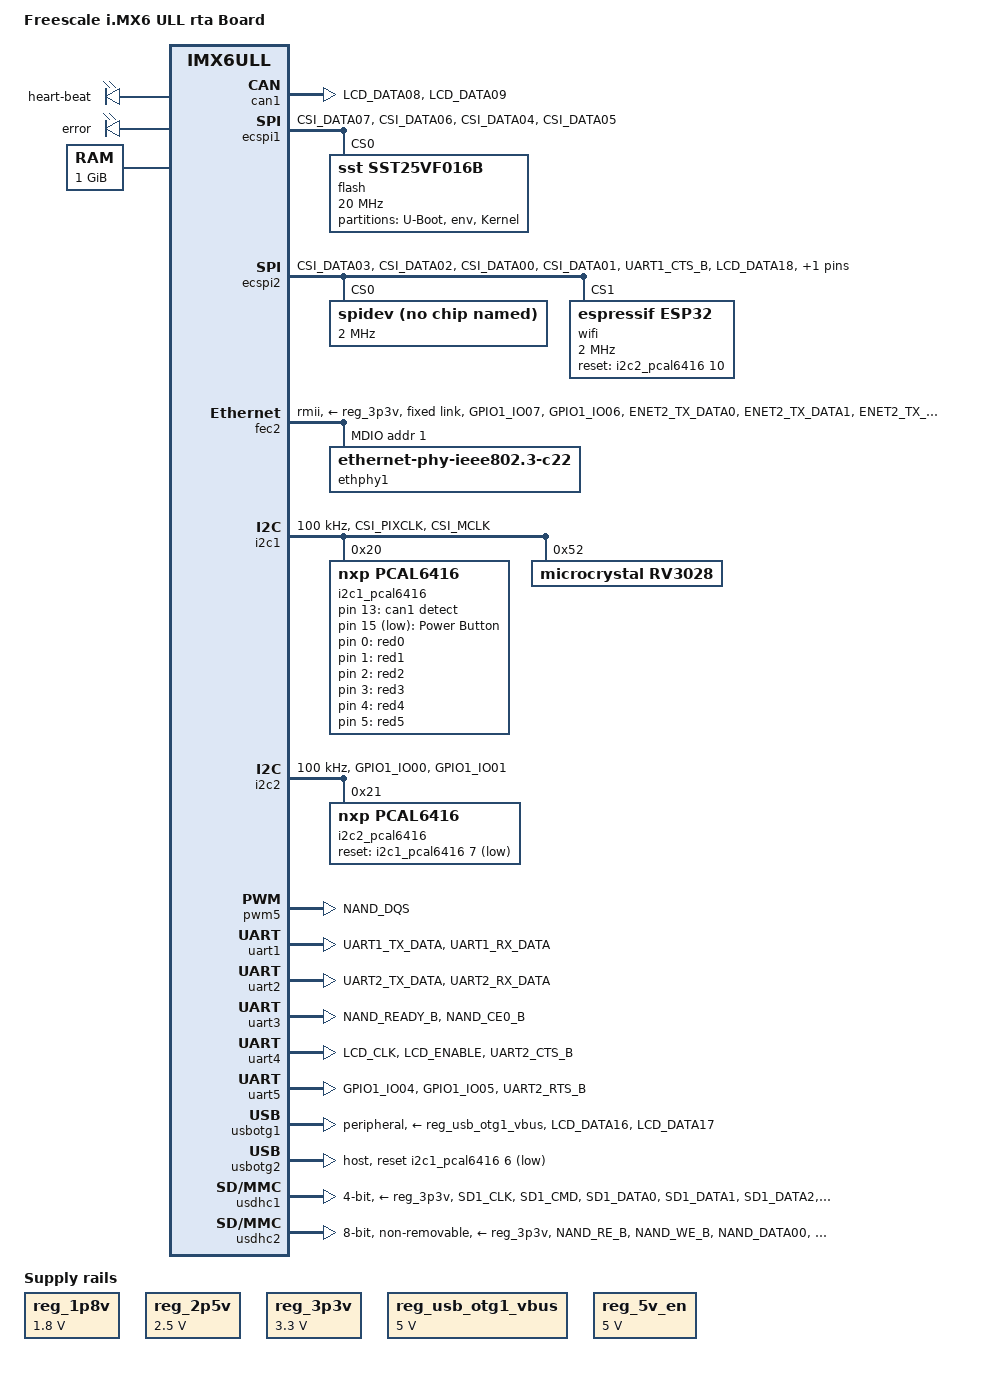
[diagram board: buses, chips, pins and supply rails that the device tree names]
/*
 * Copyright (C) 2019 Boundary Devices, Inc.
 *
 * This file is dual-licensed: you can use it either under the terms
 * of the GPL or the X11 license, at your option. Note that this dual
 * licensing only applies to this file, and not this project as a
 * whole.
 *
 *  a) This file is free software; you can redistribute it and/or
 *     modify it under the terms of the GNU General Public License
 *     version 2 as published by the Free Software Foundation.
 *
 *     This file is distributed in the hope that it will be useful
 *     but WITHOUT ANY WARRANTY; without even the implied warranty of
 *     MERCHANTABILITY or FITNESS FOR A PARTICULAR PURPOSE.  See the
 *     GNU General Public License for more details.
 *
 * Or, alternatively
 *
 *  b) Permission is hereby granted, free of charge, to any person
 *     obtaining a copy of this software and associated documentation
 *     files (the "Software"), to deal in the Software without
 *     restriction, including without limitation the rights to use
 *     copy, modify, merge, publish, distribute, sublicense, and/or
 *     sell copies of the Software, and to permit persons to whom the
 *     Software is furnished to do so, subject to the following
 *     conditions:
 *
 *     The above copyright notice and this permission notice shall be
 *     included in all copies or substantial portions of the Software.
 *
 *     THE SOFTWARE IS PROVIDED , WITHOUT WARRANTY OF ANY KIND
 *     EXPRESS OR IMPLIED, INCLUDING BUT NOT LIMITED TO THE WARRANTIES
 *     OF MERCHANTABILITY, FITNESS FOR A PARTICULAR PURPOSE AND
 *     NONINFRINGEMENT. IN NO EVENT SHALL THE AUTHORS OR COPYRIGHT
 *     HOLDERS BE LIABLE FOR ANY CLAIM, DAMAGES OR OTHER LIABILITY
 *     WHETHER IN AN ACTION OF CONTRACT, TORT OR OTHERWISE, ARISING
 *     FROM, OUT OF OR IN CONNECTION WITH THE SOFTWARE OR THE USE OR
 *     OTHER DEALINGS IN THE SOFTWARE.
 */

/dts-v1/;

#include <dt-bindings/input/input.h>
#include "imx6ull.dtsi"

&iomuxc {
	pinctrl-names = "default";
	pinctrl-0 = <&pinctrl_hog>;

	pinctrl_can1: can1grp {
		fsl,pins = <
			MX6UL_PAD_LCD_DATA08__FLEXCAN1_TX		0x1b0b0
			MX6UL_PAD_LCD_DATA09__FLEXCAN1_RX		0x1b0b0
		>;
	};

	pinctrl_ecspi1: ecspi1grp {
		fsl,pins = <
			MX6UL_PAD_CSI_DATA07__ECSPI1_MISO		0x100b1
			MX6UL_PAD_CSI_DATA06__ECSPI1_MOSI		0x100b1
			MX6UL_PAD_CSI_DATA04__ECSPI1_SCLK		0x100b1
#define GP_ECSPI1_NOR_CS		<&gpio4 26 GPIO_ACTIVE_LOW>
			MX6UL_PAD_CSI_DATA05__GPIO4_IO26		0x0b0b1
		>;
	};

	pinctrl_ecspi2: ecspi2grp {
		fsl,pins = <
			MX6UL_PAD_CSI_DATA03__ECSPI2_MISO		0x100b1
			MX6UL_PAD_CSI_DATA02__ECSPI2_MOSI		0x100b1
			MX6UL_PAD_CSI_DATA00__ECSPI2_SCLK		0x100b1
#define GP_ECSPI2_CS0			<&gpio4 22 GPIO_ACTIVE_LOW>
			MX6UL_PAD_CSI_DATA01__GPIO4_IO22		0x0b0b1
#define GP_ECSPI2_CS1			<&gpio1 18 GPIO_ACTIVE_LOW>
			MX6UL_PAD_UART1_CTS_B__GPIO1_IO18		0x0b0b1
#define GPIRQ0_ECSPI2			<&gpio3 23 IRQ_TYPE_LEVEL_LOW>
			MX6UL_PAD_LCD_DATA18__GPIO3_IO23		0x030b0
#define GPIRQ_ESP32			<&gpio3 26 IRQ_TYPE_EDGE_RISING>
			MX6UL_PAD_LCD_DATA21__GPIO3_IO26		0x0b0b0
		>;
	};

	pinctrl_enet2: enet2grp {
		fsl,pins = <
			MX6UL_PAD_GPIO1_IO07__ENET2_MDC			0x0028
			MX6UL_PAD_GPIO1_IO06__ENET2_MDIO		0xb028
			MX6UL_PAD_ENET2_TX_DATA0__ENET2_TDATA00		0x0028
			MX6UL_PAD_ENET2_TX_DATA1__ENET2_TDATA01		0x0028
			MX6UL_PAD_ENET2_TX_CLK__ENET2_REF_CLK2		0x40000028
			MX6UL_PAD_ENET2_TX_EN__ENET2_TX_EN		0x0028

			MX6UL_PAD_ENET2_RX_DATA0__ENET2_RDATA00		0x0028
			MX6UL_PAD_ENET2_RX_DATA1__ENET2_RDATA01		0x0028
			MX6UL_PAD_ENET2_RX_EN__ENET2_RX_EN		0x0028
			MX6UL_PAD_ENET2_RX_ER__ENET2_RX_ER		0x0028
#define GP_FEC2_PHY_RESET		<&gpio1 9 GPIO_ACTIVE_LOW>
			MX6UL_PAD_GPIO1_IO09__GPIO1_IO09		0x30b0
#define GPIRQ_FEC2_PHY			<&gpio1 8 IRQ_TYPE_LEVEL_LOW>
			MX6UL_PAD_GPIO1_IO08__GPIO1_IO08		0x1b0b0
		>;
	};

	pinctrl_hog: hoggrp {
		fsl,pins = <
				/* Test points */
#define GP_TP28				<&gpio3 15 GPIO_ACTIVE_HIGH>
			MX6UL_PAD_LCD_DATA10__GPIO3_IO15	0x030b1
#define GP_SPARE2			<&gpio4 20 GPIO_ACTIVE_LOW>
			MX6UL_PAD_CSI_HSYNC__GPIO4_IO20	0x0b0b1
		>;
	};

	pinctrl_i2c1: i2c1grp {
		fsl,pins = <
			MX6UL_PAD_CSI_PIXCLK__I2C1_SCL		0x4001b8b1
			MX6UL_PAD_CSI_MCLK__I2C1_SDA		0x4001b8b1
		>;
	};

	pinctrl_i2c1_1: i2c1-1grp {
		fsl,pins = <
#define GP_I2C1_SCL			<&gpio4 18 GPIO_ACTIVE_HIGH>
			MX6UL_PAD_CSI_PIXCLK__GPIO4_IO18	0x4001b8b1
#define GP_I2C1_SDA			<&gpio4 17 GPIO_ACTIVE_HIGH>
			MX6UL_PAD_CSI_MCLK__GPIO4_IO17	0x4001b8b1
		>;
	};

	pinctrl_i2c1_pcal6416: i2c1-pcal6416grp {
		fsl,pins = <
#define GP_I2C1_PCAL6416_RESET		<&gpio2 0 GPIO_ACTIVE_LOW>
			MX6UL_PAD_ENET1_RX_DATA0__GPIO2_IO00	0x130b0
#define GPIRQ_I2C1_PCAL6416		<&gpio3 5 IRQ_TYPE_LEVEL_LOW>
#define GP_I2C1_PCAL6416		<&gpio3 5 GPIO_ACTIVE_LOW>
			MX6UL_PAD_LCD_DATA00__GPIO3_IO05	0x1b0b0
		>;
	};

	pinctrl_i2c1_rv3028: i2c1_rv3028grp {
		fsl,pins = <
#define GPIRQ_RTC_RV3028		<&gpio3 25 IRQ_TYPE_LEVEL_LOW>
			MX6UL_PAD_LCD_DATA20__GPIO3_IO25	0x1b0b0
		>;
	};

	pinctrl_i2c2: i2c2grp {
		fsl,pins = <
			MX6UL_PAD_GPIO1_IO00__I2C2_SCL		0x4001b8b1
			MX6UL_PAD_GPIO1_IO01__I2C2_SDA		0x4001b8b1
		>;
	};

	pinctrl_i2c2_1: i2c2-1grp {
		fsl,pins = <
#define GP_I2C2_SCL	<&gpio1 1 GPIO_ACTIVE_HIGH>
			MX6UL_PAD_GPIO1_IO00__GPIO1_IO00	0x4001b8b1
#define GP_I2C2_SDA	<&gpio1 1 GPIO_ACTIVE_HIGH>
			MX6UL_PAD_GPIO1_IO01__GPIO1_IO01	0x4001b8b1
		>;
	};

	pinctrl_i2c2_pcal6416: i2c2-pcal6416grp {
		fsl,pins = <
#define GPIRQ_I2C2_PCAL6416		<&gpio2 6 IRQ_TYPE_LEVEL_LOW>
#define GP_I2C2_PCAL6416		<&gpio2 6 GPIO_ACTIVE_LOW>
			MX6UL_PAD_ENET1_TX_CLK__GPIO2_IO06	0x1b0b0
		>;
	};

	pinctrl_leds: ledsgrp {
		fsl,pins = <
#define GP_LED_HEART_BEAT		<&gpio3 3 GPIO_ACTIVE_HIGH>
			MX6UL_PAD_LCD_VSYNC__GPIO3_IO03		0x30b0
#define GP_LED_ERROR			<&gpio3 20 GPIO_ACTIVE_HIGH>
			MX6UL_PAD_LCD_DATA15__GPIO3_IO20	0x30b0
		>;
	};

	pinctrl_pwm5: pwm5grp {
		fsl,pins = <
			MX6UL_PAD_NAND_DQS__PWM5_OUT		0x110b0
		>;
	};

	pinctrl_reg_5v: reg-5vgrp {
		fsl,pins = <
#define GP_REG_5V_EN			<&gpio2 3 GPIO_ACTIVE_HIGH>
			MX6UL_PAD_ENET1_TX_DATA0__GPIO2_IO03	0x1b0b0
#define GPIRQ_REG_5V_OC			<&gpio3 27 IRQ_TYPE_EDGE_FALLING>
			MX6UL_PAD_LCD_DATA22__GPIO3_IO27	0x000b0
		>;
	};

	pinctrl_reg_usb_otg1_vbus: reg-usb-otg1-vbusgrp {
		fsl,pins = <
#define GP_REG_USB_OTG1_PWR_EN		<&gpio3 28 GPIO_ACTIVE_HIGH>
			MX6UL_PAD_LCD_DATA23__GPIO3_IO28	0x030b0
		>;
	};

	pinctrl_uart1: uart1grp {
		fsl,pins = <
			MX6UL_PAD_UART1_TX_DATA__UART1_DCE_TX	0x1b0b1
			MX6UL_PAD_UART1_RX_DATA__UART1_DCE_RX	0x1b0b1
		>;
	};

	pinctrl_uart2: uart2grp {
		fsl,pins = <
			MX6UL_PAD_UART2_TX_DATA__UART2_DCE_TX	0x1b0b1
			MX6UL_PAD_UART2_RX_DATA__UART2_DCE_RX	0x1b0b1
		>;
	};

	pinctrl_uart3: uart3grp {
		fsl,pins = <
			MX6UL_PAD_NAND_READY_B__UART3_DCE_TX	0x1b0b1
			MX6UL_PAD_NAND_CE0_B__UART3_DCE_RX	0x1b0b1
		>;
	};

	pinctrl_uart4: uart4grp {
		fsl,pins = <
			MX6UL_PAD_LCD_CLK__UART4_DCE_TX	0x1b0b1
			MX6UL_PAD_LCD_ENABLE__UART4_DCE_RX	0x1b0b1
#define GP_UART4_RS485_TXEN		<&gpio1 22 GPIO_ACTIVE_HIGH>
			MX6UL_PAD_UART2_CTS_B__GPIO1_IO22	0x1b0b1
		>;
	};

	pinctrl_uart5: uart5grp {
		fsl,pins = <
			MX6UL_PAD_GPIO1_IO04__UART5_DCE_TX	0x1b0b1
			MX6UL_PAD_GPIO1_IO05__UART5_DCE_RX	0x1b0b1
#define GP_UART5_RS485_TXEN		<&gpio1 23 GPIO_ACTIVE_HIGH>
			MX6UL_PAD_UART2_RTS_B__GPIO1_IO23	0x1b0b1
		>;
	};

	pinctrl_usbotg1: usbotg1grp {
		fsl,pins = <
#define GP_USB_OTG1_ID			<&gpio3 21 GPIO_ACTIVE_HIGH>
			MX6UL_PAD_LCD_DATA16__GPIO3_IO21	0x170b1
#define GPIRQ_USB_OTG1_OC		<&gpio3 22 IRQ_TYPE_EDGE_FALLING>
			MX6UL_PAD_LCD_DATA17__GPIO3_IO22	0x1b0b0
		>;
	};

	pinctrl_usdhc1_50mhz: usdhc1-50mhzgrp {
		fsl,pins = <
			MX6UL_PAD_SD1_CLK__USDHC1_CLK		0x10031
			MX6UL_PAD_SD1_CMD__USDHC1_CMD		0x17031
			MX6UL_PAD_SD1_DATA0__USDHC1_DATA0	0x17031
			MX6UL_PAD_SD1_DATA1__USDHC1_DATA1	0x17031
			MX6UL_PAD_SD1_DATA2__USDHC1_DATA2	0x17031
			MX6UL_PAD_SD1_DATA3__USDHC1_DATA3	0x17031
#define GP_USDHC1_CD		<&gpio1 19 GPIO_ACTIVE_LOW>
			MX6UL_PAD_UART1_RTS_B__GPIO1_IO19	0x1b0b0
		>;
	};

	pinctrl_usdhc1_100mhz: usdhc1-50mhzgrp {
		fsl,pins = <
			MX6UL_PAD_SD1_CLK__USDHC1_CLK		0x100b9
			MX6UL_PAD_SD1_CMD__USDHC1_CMD		0x170b9
			MX6UL_PAD_SD1_DATA0__USDHC1_DATA0	0x170b9
			MX6UL_PAD_SD1_DATA1__USDHC1_DATA1	0x170b9
			MX6UL_PAD_SD1_DATA2__USDHC1_DATA2	0x170b9
			MX6UL_PAD_SD1_DATA3__USDHC1_DATA3	0x170b9
		>;
	};

	pinctrl_usdhc1_200mhz: usdhc1-50mhzgrp {
		fsl,pins = <
			MX6UL_PAD_SD1_CLK__USDHC1_CLK		0x100f9
			MX6UL_PAD_SD1_CMD__USDHC1_CMD		0x170f9
			MX6UL_PAD_SD1_DATA0__USDHC1_DATA0	0x170f9
			MX6UL_PAD_SD1_DATA1__USDHC1_DATA1	0x170f9
			MX6UL_PAD_SD1_DATA2__USDHC1_DATA2	0x170f9
			MX6UL_PAD_SD1_DATA3__USDHC1_DATA3	0x170f9
		>;
	};

	pinctrl_usdhc2_50mhz: usdhc2-50mhzgrp {
		fsl,pins = <
			MX6UL_PAD_NAND_RE_B__USDHC2_CLK		0x10071
			MX6UL_PAD_NAND_WE_B__USDHC2_CMD		0x17071
			MX6UL_PAD_NAND_DATA00__USDHC2_DATA0	0x17071
			MX6UL_PAD_NAND_DATA01__USDHC2_DATA1	0x17071
			MX6UL_PAD_NAND_DATA02__USDHC2_DATA2	0x17071
			MX6UL_PAD_NAND_DATA03__USDHC2_DATA3	0x17071
			MX6UL_PAD_NAND_DATA04__USDHC2_DATA4	0x17071
			MX6UL_PAD_NAND_DATA05__USDHC2_DATA5	0x17071
			MX6UL_PAD_NAND_DATA06__USDHC2_DATA6	0x17071
			MX6UL_PAD_NAND_DATA07__USDHC2_DATA7	0x17071
			MX6UL_PAD_NAND_ALE__USDHC2_RESET_B	0x17071
		>;
	};

	pinctrl_usdhc2_100mhz: usdhc2-100mhzgrp {
		fsl,pins = <
			MX6UL_PAD_NAND_RE_B__USDHC2_CLK		0x100b9
			MX6UL_PAD_NAND_WE_B__USDHC2_CMD		0x170b9
			MX6UL_PAD_NAND_DATA00__USDHC2_DATA0	0x170b9
			MX6UL_PAD_NAND_DATA01__USDHC2_DATA1	0x170b9
			MX6UL_PAD_NAND_DATA02__USDHC2_DATA2	0x170b9
			MX6UL_PAD_NAND_DATA03__USDHC2_DATA3	0x170b9
			MX6UL_PAD_NAND_DATA04__USDHC2_DATA4	0x170b9
			MX6UL_PAD_NAND_DATA05__USDHC2_DATA5	0x170b9
			MX6UL_PAD_NAND_DATA06__USDHC2_DATA6	0x170b9
			MX6UL_PAD_NAND_DATA07__USDHC2_DATA7	0x170b9
		>;
	};

	pinctrl_usdhc2_200mhz: usdhc2-200mhzgrp {
		fsl,pins = <
			MX6UL_PAD_NAND_RE_B__USDHC2_CLK		0x100f9
			MX6UL_PAD_NAND_WE_B__USDHC2_CMD		0x170f9
			MX6UL_PAD_NAND_DATA00__USDHC2_DATA0	0x170f9
			MX6UL_PAD_NAND_DATA01__USDHC2_DATA1	0x170f9
			MX6UL_PAD_NAND_DATA02__USDHC2_DATA2	0x170f9
			MX6UL_PAD_NAND_DATA03__USDHC2_DATA3	0x170f9
			MX6UL_PAD_NAND_DATA04__USDHC2_DATA4	0x170f9
			MX6UL_PAD_NAND_DATA05__USDHC2_DATA5	0x170f9
			MX6UL_PAD_NAND_DATA06__USDHC2_DATA6	0x170f9
			MX6UL_PAD_NAND_DATA07__USDHC2_DATA7	0x170f9
		>;
	};
};

/ {
	model = "Freescale i.MX6 ULL rta Board";
	compatible = "fsl,imx6ull-rta", "fsl,imx6ull";

	gpio-keys {
		compatible = "gpio-keys";

		can1-det {
			label = "can1 detect";
			gpios = <&i2c1_pcal6416 13 GPIO_ACTIVE_HIGH>;
			linux,code = <KEY_BACK>;
			gpio-key,wakeup;
		};

		power {
			label = "Power Button";
			gpios = <&i2c1_pcal6416 15 GPIO_ACTIVE_LOW>;
			linux,code = <KEY_POWER>;
			gpio-key,wakeup;
		};
	};

	leds {
		compatible = "gpio-leds";
		pinctrl-names = "default";
		pinctrl-0 = <&pinctrl_leds>;
		heart-beat {
			gpios = GP_LED_HEART_BEAT;
			retain-state-suspended;
			default-state = "off";
		};

		error {
			gpios = GP_LED_ERROR;
			retain-state-suspended;
			default-state = "off";
		};

		red0 {
			gpios = <&i2c1_pcal6416 0 GPIO_ACTIVE_HIGH>;
			retain-state-suspended;
			default-state = "off";
		};

		red1 {
			gpios = <&i2c1_pcal6416 1 GPIO_ACTIVE_HIGH>;
			retain-state-suspended;
			default-state = "off";
		};

		red2 {
			gpios = <&i2c1_pcal6416 2 GPIO_ACTIVE_HIGH>;
			retain-state-suspended;
			default-state = "off";
		};

		red3 {
			gpios = <&i2c1_pcal6416 3 GPIO_ACTIVE_HIGH>;
			retain-state-suspended;
			default-state = "off";
		};

		red4 {
			gpios = <&i2c1_pcal6416 4 GPIO_ACTIVE_HIGH>;
			retain-state-suspended;
			default-state = "off";
		};

		red5 {
			gpios = <&i2c1_pcal6416 5 GPIO_ACTIVE_HIGH>;
			retain-state-suspended;
			default-state = "off";
		};
	};

	memory {
		reg = <0x80000000 0x40000000>;
	};

	reg_1p8v: regulator-1v8 {
		compatible = "regulator-fixed";
		regulator-name = "1P8V";
		regulator-min-microvolt = <1800000>;
		regulator-max-microvolt = <1800000>;
		regulator-always-on;
	};

	reg_2p5v: regulator-2v5 {
		compatible = "regulator-fixed";
		regulator-name = "2P5V";
		regulator-min-microvolt = <2500000>;
		regulator-max-microvolt = <2500000>;
		regulator-always-on;
	};

	reg_3p3v: regulator-3v3 {
		compatible = "regulator-fixed";
		regulator-name = "3P3V";
		regulator-min-microvolt = <3300000>;
		regulator-max-microvolt = <3300000>;
		regulator-always-on;
	};

	reg_usb_otg1_vbus: regulator-usb-otg1-vbus {
		pinctrl-names = "default";
		pinctrl-0 = <&pinctrl_reg_usb_otg1_vbus>;
		compatible = "regulator-fixed";
		regulator-name = "usb_otg1_vbus";
		regulator-min-microvolt = <5000000>;
		regulator-max-microvolt = <5000000>;
		gpio = GP_REG_USB_OTG1_PWR_EN;
		enable-active-high;
	};

	reg_5v_en: regulator-5v {
		compatible = "regulator-fixed";
		pinctrl-names = "default";
		pinctrl-0 = <&pinctrl_reg_5v>;
		regulator-name = "5v";
		regulator-min-microvolt = <5000000>;
		regulator-max-microvolt = <5000000>;
		startup-delay-us = <70000>;
		gpio = GP_REG_5V_EN;
		enable-active-high;
	};
};

&can1 {
	pinctrl-names = "default";
	pinctrl-0 = <&pinctrl_can1>;
	status = "okay";
};

&ecspi1 {
	fsl,spi-num-chipselects = <1>;
	cs-gpios = GP_ECSPI1_NOR_CS;
	pinctrl-names = "default";
	pinctrl-0 = <&pinctrl_ecspi1>;
	status = "okay";

	flash: m25p80@0 {
		compatible = "sst,sst25vf016b";
		spi-max-frequency = <20000000>;
		reg = <0>;
		#address-cells = <1>;
		#size-cells = <1>;
		partition@0 {
			label = "U-Boot";
			reg = <0x0 0xC0000>;
			read-only;
		};
		partition@C0000 {
			label = "env";
			reg = <0xC0000 0x2000>;
			read-only;
		};
		partition@C2000 {
			label = "Kernel";
			reg = <0xC2000 0x13e000>;
		};
	};
};

&ecspi2 {
	fsl,spi-num-chipselects = <2>;
	cs-gpios = GP_ECSPI2_CS0, GP_ECSPI2_CS1;
	pinctrl-names = "default";
	pinctrl-0 = <&pinctrl_ecspi2>;
	status = "okay";

	spidev@0 {
		compatible = "spidev";
		spi-max-frequency = <2000000>;
		reg = <0>;
	};

	wifi@1 {
		compatible = "espressif,esp32";
		spi-max-frequency = <2000000>;
		reg = <1>;
		interrupts-extended = GPIRQ_ESP32;
		reset-gpio = <&i2c2_pcal6416 10 GPIO_ACTIVE_HIGH>;
	};
};

&fec2 {
	pinctrl-names = "default";
	pinctrl-0 = <&pinctrl_enet2>;
	phy-mode = "rmii";
#if 0
	phy-reset-gpios = GP_FEC2_PHY_RESET;
#endif
	phy-supply = <&reg_3p3v>;
	status = "okay";
#if 0
	phy-handle = <&ethphy1>;
#else
	fixed-link {
		speed = <100>;
#if 0
		pause;
#endif
		full-duplex;
	};
#endif
	mdio {
		#address-cells = <1>;
		#size-cells = <0>;

		ethphy1: ethernet-phy@1 {
			compatible = "ethernet-phy-ieee802.3-c22";
			reg = <1>;
#if 0
			/* ksz8863 is not supporting irq correctly, poll*/
			interrupts-extended = GPIRQ_FEC2_PHY;
#endif
		};
	};
};

&i2c1 {
	clock-frequency = <100000>;
	pinctrl-names = "default", "gpio";
	pinctrl-0 = <&pinctrl_i2c1>;
	pinctrl-1 = <&pinctrl_i2c1_1>;
	scl-gpios = GP_I2C1_SCL;
	sda-gpios = GP_I2C1_SDA;
	status = "okay";

	i2c1_pcal6416: i2c1-pcal6416@20 {
		compatible = "nxp,pcal6416";
		gpio-controller;
		#gpio-cells = <2>;
		interrupt-controller;
		#interrupt-cells = <2>;
		interrupts-extended = GPIRQ_I2C1_PCAL6416;
		pinctrl-names = "default";
		pinctrl-0 = <&pinctrl_i2c1_pcal6416>;
		reg = <0x20>;
		reset-gpios = GP_I2C1_PCAL6416_RESET;
	};

	rv3028@52 {
		backup-switchover-dsm;
		compatible = "microcrystal,rv3028";
		pinctrl-names = "default";
		pinctrl-0 = <&pinctrl_i2c1_rv3028>;
		reg = <0x52>;
		interrupts-extended = GPIRQ_RTC_RV3028;
	};
};

&i2c2 {
	clock-frequency = <100000>;
	pinctrl-names = "default", "gpio";
	pinctrl-0 = <&pinctrl_i2c2>;
	pinctrl-1 = <&pinctrl_i2c2_1>;
	scl-gpios = GP_I2C2_SCL;
	sda-gpios = GP_I2C2_SDA;
	status = "okay";

	i2c2_pcal6416: i2c2-pcal6416@21 {
		compatible = "nxp,pcal6416";
		gpio-controller;
		#gpio-cells = <2>;
		interrupt-controller;
		#interrupt-cells = <2>;
		interrupts-extended = GPIRQ_I2C2_PCAL6416;
		pinctrl-names = "default";
		pinctrl-0 = <&pinctrl_i2c2_pcal6416>;
		reg = <0x21>;
		reset-gpios = <&i2c1_pcal6416 7 GPIO_ACTIVE_LOW>;
	};
};

&pwm5 {
	pinctrl-names = "default";
	pinctrl-0 = <&pinctrl_pwm5>;
	status = "okay";
};

&uart1 {
	pinctrl-names = "default";
	pinctrl-0 = <&pinctrl_uart1>;
	status = "okay";
};

&uart2 {
	pinctrl-names = "default";
	pinctrl-0 = <&pinctrl_uart2>;
	status = "okay";
};

&uart3 {
	pinctrl-names = "default";
	pinctrl-0 = <&pinctrl_uart3>;
	status = "okay";
};

&uart4 {
	control-gpios = GP_UART4_RS485_TXEN;
	pinctrl-0 = <&pinctrl_uart4>;
	pinctrl-names = "default";
#define M_TX_EN		1
	linux,rs485-enabled-at-boot-time;
	rs485_txen_levels = <M_TX_EN>;
	rs485_txen_mask = <0x1>;
	status = "okay";
	uart-has-rs485-half-duplex;
};

&uart5 {
	control-gpios = GP_UART5_RS485_TXEN;
	pinctrl-0 = <&pinctrl_uart5>;
	pinctrl-names = "default";
	linux,rs485-enabled-at-boot-time;
	rs485_txen_levels = <M_TX_EN>;
	rs485_txen_mask = <0x1>;
	status = "okay";
	uart-has-rs485-half-duplex;
};

&usbotg1 {
	disable-over-current;
	dr_mode = "peripheral";
	pinctrl-names = "default";
	pinctrl-0 = <&pinctrl_usbotg1>;
	status = "okay";
	vbus-supply = <&reg_usb_otg1_vbus>;
};

&usbotg2 {
	disable-over-current;
	dr_mode = "host";
	reset-gpios = <&i2c1_pcal6416 6 GPIO_ACTIVE_LOW>, <&i2c2_pcal6416 8 GPIO_ACTIVE_LOW>;
	status = "okay";
};

&usdhc1 {
	bus-width = <4>;
	cd-gpios = GP_USDHC1_CD;
	no-1-8-v;
	pinctrl-names = "default", "state_100mhz", "state_200mhz";
	pinctrl-0 = <&pinctrl_usdhc1_50mhz>;
	pinctrl-1 = <&pinctrl_usdhc1_100mhz>;
	pinctrl-2 = <&pinctrl_usdhc1_200mhz>;
	status = "okay";
	vmmc-supply = <&reg_3p3v>;
};

&usdhc2 {
	bus-width = <8>;
	keep-power-in-suspend;
	no-1-8-v;
	non-removable;
	pinctrl-names = "default", "state_100mhz", "state_200mhz";
	pinctrl-0 = <&pinctrl_usdhc2_50mhz>;
	pinctrl-1 = <&pinctrl_usdhc2_100mhz>;
	pinctrl-2 = <&pinctrl_usdhc2_200mhz>;
	status = "okay";
	vmmc-supply = <&reg_3p3v>;
};
